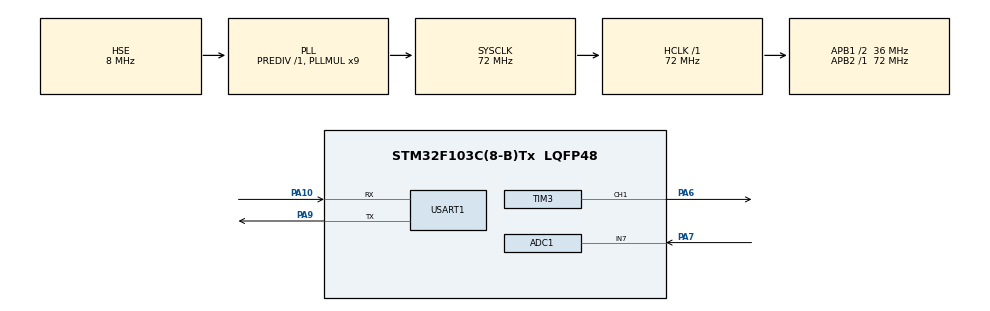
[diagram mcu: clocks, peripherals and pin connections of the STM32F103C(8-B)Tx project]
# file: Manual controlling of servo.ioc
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ADC1.Channel-0\#ChannelRegularConversion=ADC_CHANNEL_7
ADC1.NbrOfConversionFlag=1
ADC1.Rank-0\#ChannelRegularConversion=1
ADC1.SamplingTime-0\#ChannelRegularConversion=ADC_SAMPLETIME_1CYCLE_5
ADC1.master=1
Mcu.Family=STM32F1
Mcu.Name=STM32F103C(8-B)Tx
Mcu.Package=LQFP48
NVIC.PriorityGroup=NVIC_PRIORITYGROUP_4
PA10.Mode=Asynchronous
PA10.Signal=USART1_RX
PA13.Mode=Serial_Wire
PA13.Signal=SYS_JTMS-SWDIO
PA14.Mode=Serial_Wire
PA14.Signal=SYS_JTCK-SWCLK
PA6.Signal=S_TIM3_CH1
PA7.Signal=ADCx_IN7
PA9.Mode=Asynchronous
PA9.Signal=USART1_TX
PD0-OSC_IN.Mode=HSE-External-Oscillator
PD0-OSC_IN.Signal=RCC_OSC_IN
PD1-OSC_OUT.Mode=HSE-External-Oscillator
PD1-OSC_OUT.Signal=RCC_OSC_OUT
ProjectManager.HeapSize=0x200
ProjectManager.StackSize=0x400
ProjectManager.TargetToolchain=STM32CubeIDE
RCC.ADCPresc=RCC_ADCPCLK2_DIV6
RCC.AHBFreq_Value=72000000
RCC.APB1CLKDivider=RCC_HCLK_DIV2
RCC.APB1Freq_Value=36000000
RCC.APB1TimFreq_Value=72000000
RCC.APB2Freq_Value=72000000
RCC.APB2TimFreq_Value=72000000
RCC.HCLKFreq_Value=72000000
RCC.PLLMUL=RCC_PLL_MUL9
RCC.PLLSourceVirtual=RCC_PLLSOURCE_HSE
RCC.SYSCLKFreq_VALUE=72000000
RCC.SYSCLKSource=RCC_SYSCLKSOURCE_PLLCLK
RCC.USBFreq_Value=72000000
SH.ADCx_IN7.0=ADC1_IN7,IN7
SH.S_TIM3_CH1.0=TIM3_CH1,PWM Generation1 CH1
TIM3.Channel-PWM\ Generation1\ CH1=TIM_CHANNEL_1
TIM3.Period=19999
TIM3.Prescaler=71
USART1.VirtualMode=VM_ASYNC
VP_TIM3_VS_ClockSourceINT.Mode=Internal
board=custom

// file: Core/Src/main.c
/* USER CODE BEGIN Header */
/**
 ******************************************************************************
 * @file           : main.c
 * @brief          : Main program body
 ******************************************************************************
 * @attention
 *
 * Copyright (c) 2024 STMicroelectronics.
 * All rights reserved.
 *
 * This software is licensed under terms that can be found in the LICENSE file
 * in the root directory of this software component.
 * If no LICENSE file comes with this software, it is provided AS-IS.
 *
 ******************************************************************************
 */
/* USER CODE END Header */
#include "main.h"

/* USER CODE BEGIN Includes */
#include <stdint.h>
#include <stdio.h>
#include "../../Drivers/Device_Drivers/HD44780_LCD/HD44780_LCD.h"
/* USER CODE END Includes */

ADC_HandleTypeDef hadc1;

TIM_HandleTypeDef htim3;

UART_HandleTypeDef huart1;

/* USER CODE BEGIN PV */
Alcd_t lcd = { .RS_GPIO = GPIOA, .RS_GPIO_Pin = GPIO_PIN_4, .EN_GPIO = GPIOA,
		.EN_GPIO_Pin = GPIO_PIN_5, .Data_GPIO = GPIOA, .Data_GPIO_Start_Pin =
		GPIO_PIN_0 };
/* USER CODE END PV */

void SystemClock_Config(void);
static void MX_GPIO_Init(void);
static void MX_ADC1_Init(void);
static void MX_TIM3_Init(void);
static void MX_USART1_UART_Init(void);

/* USER CODE BEGIN 0 */
uint32_t degree_to_PWM(float phai);
uint8_t ADC_to_degree(uint16_t ADC);
uint16_t value;
float phai = 0;
float theta = 0;
uint16_t PWM_Value;
uint8_t display;
uint32_t mid_PWM;

char degree_str[16];
char adc_str[64];
char pwm_str[8];
/* USER CODE END 0 */

int main(void)
{

  /* MCU Configuration--------------------------------------------------------*/

  /* Reset of all peripherals, Initializes the Flash interface and the Systick. */
  HAL_Init();

  /* Configure the system clock */
  SystemClock_Config();

  /* Initialize all configured peripherals */
  MX_GPIO_Init();
  MX_ADC1_Init();
  MX_TIM3_Init();
  MX_USART1_UART_Init();
  /* USER CODE BEGIN 2 */
	__HAL_RCC_GPIOA_CLK_ENABLE();
	Alcd_Init(&lcd, 2, 16);
	HAL_TIM_PWM_Start(&htim3, TIM_CHANNEL_1);
  /* USER CODE END 2 */

  /* Infinite loop */
	while (1) {

    /* USER CODE BEGIN 3 */
		//get the angle of the potentiometer
		HAL_ADC_Start(&hadc1);
		HAL_ADC_PollForConversion(&hadc1, 100);
		value = HAL_ADC_GetValue(&hadc1);
		theta = ADC_to_degree(value);
		if (theta > 180) {
			phai = 180;
		} else if (theta < 0) {
			phai = 0;
		} else {
			phai = theta;
		}

		//servo motor
		PWM_Value = degree_to_PWM(phai);
		__HAL_TIM_SET_COMPARE(&htim3, TIM_CHANNEL_1, PWM_Value);

		//LCD
		//display = sprintf(degree_str, "Angle =%02d degree", (int) phai);
		//Alcd_PutAt_n(&lcd, 0, 0, degree_str, display);
		display = sprintf(adc_str, "ADC = %04d PWM=%04d Angle=%03.2f\n", value,PWM_Value,theta);
		HAL_UART_Transmit(&huart1, adc_str, display, 100);
		//Alcd_PutAt_n&lcd, 1, 0, adc_str, 10);
		HAL_Delay(500);
		Alcd_Clear(&lcd);
	}
  /* USER CODE END 3 */
}

void SystemClock_Config(void)
{
  RCC_OscInitTypeDef RCC_OscInitStruct = {0};
  RCC_ClkInitTypeDef RCC_ClkInitStruct = {0};
  RCC_PeriphCLKInitTypeDef PeriphClkInit = {0};

  /** Initializes the RCC Oscillators according to the specified parameters
  * in the RCC_OscInitTypeDef structure.
  */
  RCC_OscInitStruct.OscillatorType = RCC_OSCILLATORTYPE_HSE;
  RCC_OscInitStruct.HSEState = RCC_HSE_ON;
  RCC_OscInitStruct.HSEPredivValue = RCC_HSE_PREDIV_DIV1;
  RCC_OscInitStruct.HSIState = RCC_HSI_ON;
  RCC_OscInitStruct.PLL.PLLState = RCC_PLL_ON;
  RCC_OscInitStruct.PLL.PLLSource = RCC_PLLSOURCE_HSE;
  RCC_OscInitStruct.PLL.PLLMUL = RCC_PLL_MUL9;
  if (HAL_RCC_OscConfig(&RCC_OscInitStruct) != HAL_OK)
  {
    Error_Handler();
  }

  /** Initializes the CPU, AHB and APB buses clocks
  */
  RCC_ClkInitStruct.ClockType = RCC_CLOCKTYPE_HCLK|RCC_CLOCKTYPE_SYSCLK
                              |RCC_CLOCKTYPE_PCLK1|RCC_CLOCKTYPE_PCLK2;
  RCC_ClkInitStruct.SYSCLKSource = RCC_SYSCLKSOURCE_PLLCLK;
  RCC_ClkInitStruct.AHBCLKDivider = RCC_SYSCLK_DIV1;
  RCC_ClkInitStruct.APB1CLKDivider = RCC_HCLK_DIV2;
  RCC_ClkInitStruct.APB2CLKDivider = RCC_HCLK_DIV1;

  if (HAL_RCC_ClockConfig(&RCC_ClkInitStruct, FLASH_LATENCY_2) != HAL_OK)
  {
    Error_Handler();
  }
  PeriphClkInit.PeriphClockSelection = RCC_PERIPHCLK_ADC;
  PeriphClkInit.AdcClockSelection = RCC_ADCPCLK2_DIV6;
  if (HAL_RCCEx_PeriphCLKConfig(&PeriphClkInit) != HAL_OK)
  {
    Error_Handler();
  }
}

static void MX_ADC1_Init(void)
{

  ADC_ChannelConfTypeDef sConfig = {0};

  /** Common config
  */
  hadc1.Instance = ADC1;
  hadc1.Init.ScanConvMode = ADC_SCAN_DISABLE;
  hadc1.Init.ContinuousConvMode = DISABLE;
  hadc1.Init.DiscontinuousConvMode = DISABLE;
  hadc1.Init.ExternalTrigConv = ADC_SOFTWARE_START;
  hadc1.Init.DataAlign = ADC_DATAALIGN_RIGHT;
  hadc1.Init.NbrOfConversion = 1;
  if (HAL_ADC_Init(&hadc1) != HAL_OK)
  {
    Error_Handler();
  }

  /** Configure Regular Channel
  */
  sConfig.Channel = ADC_CHANNEL_7;
  sConfig.Rank = ADC_REGULAR_RANK_1;
  sConfig.SamplingTime = ADC_SAMPLETIME_1CYCLE_5;
  if (HAL_ADC_ConfigChannel(&hadc1, &sConfig) != HAL_OK)
  {
    Error_Handler();
  }

}

static void MX_TIM3_Init(void)
{

  TIM_ClockConfigTypeDef sClockSourceConfig = {0};
  TIM_MasterConfigTypeDef sMasterConfig = {0};
  TIM_OC_InitTypeDef sConfigOC = {0};

  htim3.Instance = TIM3;
  htim3.Init.Prescaler = 71;
  htim3.Init.CounterMode = TIM_COUNTERMODE_UP;
  htim3.Init.Period = 19999;
  htim3.Init.ClockDivision = TIM_CLOCKDIVISION_DIV1;
  htim3.Init.AutoReloadPreload = TIM_AUTORELOAD_PRELOAD_DISABLE;
  if (HAL_TIM_Base_Init(&htim3) != HAL_OK)
  {
    Error_Handler();
  }
  sClockSourceConfig.ClockSource = TIM_CLOCKSOURCE_INTERNAL;
  if (HAL_TIM_ConfigClockSource(&htim3, &sClockSourceConfig) != HAL_OK)
  {
    Error_Handler();
  }
  if (HAL_TIM_PWM_Init(&htim3) != HAL_OK)
  {
    Error_Handler();
  }
  sMasterConfig.MasterOutputTrigger = TIM_TRGO_RESET;
  sMasterConfig.MasterSlaveMode = TIM_MASTERSLAVEMODE_DISABLE;
  if (HAL_TIMEx_MasterConfigSynchronization(&htim3, &sMasterConfig) != HAL_OK)
  {
    Error_Handler();
  }
  sConfigOC.OCMode = TIM_OCMODE_PWM1;
  sConfigOC.Pulse = 0;
  sConfigOC.OCPolarity = TIM_OCPOLARITY_HIGH;
  sConfigOC.OCFastMode = TIM_OCFAST_DISABLE;
  if (HAL_TIM_PWM_ConfigChannel(&htim3, &sConfigOC, TIM_CHANNEL_1) != HAL_OK)
  {
    Error_Handler();
  }
  HAL_TIM_MspPostInit(&htim3);

}

static void MX_USART1_UART_Init(void)
{

  huart1.Instance = USART1;
  huart1.Init.BaudRate = 115200;
  huart1.Init.WordLength = UART_WORDLENGTH_8B;
  huart1.Init.StopBits = UART_STOPBITS_1;
  huart1.Init.Parity = UART_PARITY_NONE;
  huart1.Init.Mode = UART_MODE_TX_RX;
  huart1.Init.HwFlowCtl = UART_HWCONTROL_NONE;
  huart1.Init.OverSampling = UART_OVERSAMPLING_16;
  if (HAL_UART_Init(&huart1) != HAL_OK)
  {
    Error_Handler();
  }

}

static void MX_GPIO_Init(void)
{

  /* GPIO Ports Clock Enable */
  __HAL_RCC_GPIOD_CLK_ENABLE();
  __HAL_RCC_GPIOA_CLK_ENABLE();

}

/* USER CODE BEGIN 4 */
uint32_t degree_to_PWM(float phai) {
//return PWM from potentiometer
//phai is the degree of potentiometer
	return ((float) (phai * 1900 / 180) +499);
}
uint8_t ADC_to_degree(uint16_t ADC) {
//return degree to servo
return ((float) (ADC * ( 180.0/ 4095.0f)));
}
/* USER CODE END 4 */

void Error_Handler(void)
{
	__disable_irq();
	while (1) {
	}
}
